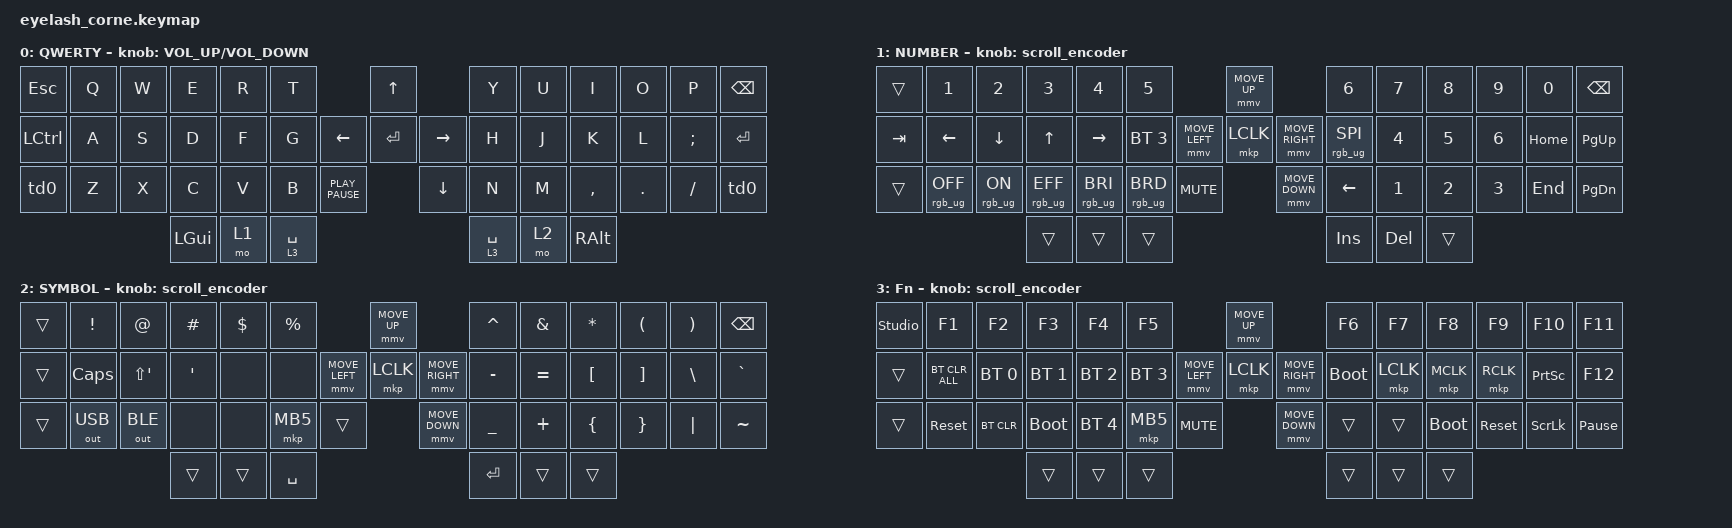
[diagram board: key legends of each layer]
#define ZMK_POINTING_DEFAULT_MOVE_VAL 1200  // 600
#define ZMK_POINTING_DEFAULT_SCRL_VAL 25   // 10

#include <input/processors.dtsi>
#include <zephyr/dt-bindings/input/input-event-codes.h>
#include <behaviors.dtsi>
#include <dt-bindings/zmk/bt.h>
#include <dt-bindings/zmk/keys.h>
#include <dt-bindings/zmk/outputs.h>
#include <dt-bindings/zmk/pointing.h>
#include <dt-bindings/zmk/rgb.h>

&mmv_input_listener { input-processors = <&zip_xy_scaler 2 1>; };

&msc_input_listener { input-processors = <&zip_scroll_scaler 2 1>; };

&msc {
    acceleration-exponent = <1>;      // 0
    time-to-max-speed-ms = <100>;       // 300
    delay-ms = <0>;                   // 0
};

&mmv {
    time-to-max-speed-ms = <500>;
    acceleration-exponent = <1>;
    trigger-period-ms = <16>;
};

/ {
    behaviors {
        td0: td0 {
            compatible = "zmk,behavior-tap-dance";
            display-name = "Shift/Caps Lock Tap Dance";
            #binding-cells = <0>;
            bindings = <&kp LEFT_SHIFT>, <&kp CAPS>;
        };
    };

    rgb_encoder: rgb_encoder {
        compatible = "zmk,behavior-sensor-rotate";
        #sensor-binding-cells = <0>;
        bindings = <&rgb_ug RGB_BRI>, <&rgb_ug RGB_BRD>;
    };

    scroll_encoder: scroll_encoder {
        compatible = "zmk,behavior-sensor-rotate";
        #sensor-binding-cells = <0>;
        bindings = <&msc SCRL_DOWN>, <&msc SCRL_UP>;

        tap-ms = <100>;
    };

    keymap {
        compatible = "zmk,keymap";

        default_layer {
            display-name = "QWERTY";
            bindings = <
&kp ESCAPE        &kp Q  &kp W  &kp E     &kp R  &kp T                                      &kp UP                &kp Y        &kp U  &kp I      &kp O    &kp P     &kp BSPC
&kp LEFT_CONTROL  &kp A  &kp S  &kp D     &kp F  &kp G                            &kp LEFT  &kp ENTER  &kp RIGHT  &kp H        &kp J  &kp K      &kp L    &kp SEMI  &kp ENTER
&td0              &kp Z  &kp X  &kp C     &kp V  &kp B        &kp K_PLAY_PAUSE              &kp DOWN              &kp N        &kp M  &kp COMMA  &kp DOT  &kp FSLH  &td0
                                &kp LGUI  &mo 1  &lt 3 SPACE                                                      &lt 3 SPACE  &mo 2  &kp RALT
            >;

            sensor-bindings = <&inc_dec_kp C_VOLUME_UP C_VOLUME_DOWN>;
        };

        lower_layer {
            display-name = "NUMBER";
            bindings = <
&trans   &kp N1           &kp N2          &kp N3           &kp N4           &kp N5                                         &mmv MOVE_UP                     &kp N6           &kp N7        &kp N8        &kp N9        &kp N0    &kp BSPC
&kp TAB  &kp LEFT_ARROW   &kp DOWN_ARROW  &kp UP_ARROW     &kp RIGHT_ARROW  &bt BT_SEL 3                   &mmv MOVE_LEFT  &mkp LCLK       &mmv MOVE_RIGHT  &rgb_ug RGB_SPI  &kp NUMBER_4  &kp NUMBER_5  &kp NUMBER_6  &kp HOME  &kp PG_UP
&trans   &rgb_ug RGB_OFF  &rgb_ug RGB_ON  &rgb_ug RGB_EFF  &rgb_ug RGB_BRI  &rgb_ug RGB_BRD  &kp C_MUTE                    &mmv MOVE_DOWN                   &kp LEFT_ARROW   &kp NUMBER_1  &kp NUMBER_2  &kp NUMBER_3  &kp END   &kp PG_DN
                                          &trans           &trans           &trans                                                                          &kp INS          &kp DEL       &trans
            >;

            sensor-bindings = <&scroll_encoder>;
        };

        raise_layer {
            display-name = "SYMBOL";
            bindings = <
&trans  &kp EXCL      &kp AT        &kp HASH        &kp DLLR  &kp PRCNT                            &mmv MOVE_UP                     &kp CARET  &kp AMPS   &kp ASTRK  &kp LPAR  &kp RPAR  &kp BSPC
&trans  &kp CAPSLOCK  &kp LS(APOS)  &kp APOSTROPHE  &none     &none                &mmv MOVE_LEFT  &mkp LCLK       &mmv MOVE_RIGHT  &kp MINUS  &kp EQUAL  &kp LBKT   &kp RBKT  &kp BSLH  &kp GRAVE
&trans  &out OUT_USB  &out OUT_BLE  &none           &none     &mkp MB5   &trans                    &mmv MOVE_DOWN                   &kp UNDER  &kp PLUS   &kp LBRC   &kp RBRC  &kp PIPE  &kp TILDE
                                    &trans          &trans    &kp SPACE                                                             &kp RET    &trans     &trans
            >;

            sensor-bindings = <&scroll_encoder>;
        };

        layer_3 {
            display-name = "Fn";
            bindings = <
&studio_unlock  &kp F1          &kp F2        &kp F3        &kp F4        &kp F5                                      &mmv MOVE_UP                     &kp F6       &kp F7     &kp F8       &kp F9      &kp F10          &kp F11
&trans          &bt BT_CLR_ALL  &bt BT_SEL 0  &bt BT_SEL 1  &bt BT_SEL 2  &bt BT_SEL 3                &mmv MOVE_LEFT  &mkp LCLK       &mmv MOVE_RIGHT  &bootloader  &mkp LCLK  &mkp MCLK    &mkp RCLK   &kp PRINTSCREEN  &kp F12
&trans          &sys_reset      &bt BT_CLR    &bootloader   &bt BT_SEL 4  &mkp MB5      &kp C_MUTE                    &mmv MOVE_DOWN                   &trans       &trans     &bootloader  &sys_reset  &kp SCROLLLOCK   &kp PAUSE_BREAK
                                              &trans        &trans        &trans                                                                       &trans       &trans     &trans
            >;

            sensor-bindings = <&scroll_encoder>;
        };
    };
};
